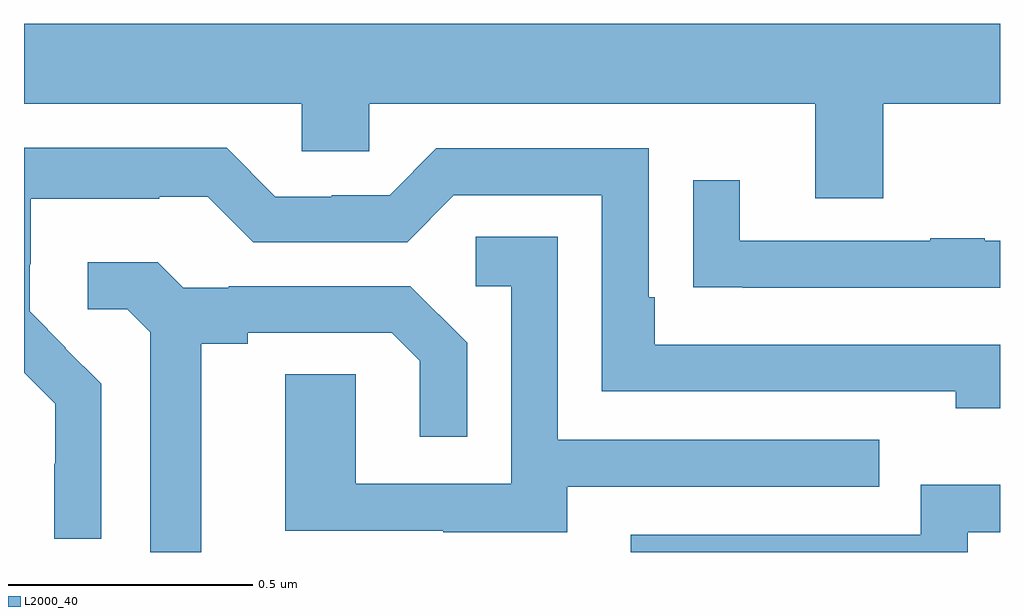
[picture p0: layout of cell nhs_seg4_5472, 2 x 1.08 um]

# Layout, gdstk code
import gdstk
lib = gdstk.Library(unit=1e-6, precision=1e-09)
def P(c, l, *ps):  # polygons
    for p in ps: c.add(gdstk.Polygon(p, *l))
L2000_40 = (2000, 40)

nhs_seg4_5472 = lib.new_cell('nhs_seg4_5472')
P(nhs_seg4_5472, L2000_40, [(179.761,796.82),(180,796.82),(180,796.984),(178,796.984),(178,796.82),(178.569,796.82),(178.569,796.722),(178.707,796.722),(178.707,796.82),(179.621,796.82),(179.621,796.626),(179.761,796.626)],
  [(178.158,796.246),(178.085,796.319),(178.086,796.32),(178.012,796.394),(178.012,796.491),(178.014,796.491),(178.014,796.625),(178.277,796.625),(178.277,796.629),(178.377,796.629),(178.47,796.536),(178.785,796.536),(178.881,796.632),(179.184,796.632),(179.184,796.23),(179.909,796.23),(179.909,796.196),(180,796.196),(180,796.326),(179.293,796.326),(179.293,796.423),(179.28,796.423),(179.28,796.728),(178.845,796.728),(178.749,796.632),(178.631,796.632),(178.631,796.629),(178.515,796.629),(178.415,796.729),(178,796.729),(178,796.268),(178.064,796.205),(178.064,796.082),(178.062,796.082),(178.062,795.928),(178.158,795.928)],
  [(180,796.539),(179.969,796.539),(179.969,796.544),(179.857,796.544),(179.857,796.539),(179.467,796.539),(179.467,796.663),(179.371,796.663),(179.371,796.444),(179.473,796.444),(179.473,796.443),(180,796.443)],
  [(179.113,796.035),(179.753,796.035),(179.753,796.131),(179.094,796.131),(179.094,796.547),(178.926,796.547),(178.926,796.446),(178.998,796.446),(178.998,796.041),(178.68,796.041),(178.68,796.265),(178.535,796.265),(178.535,795.945),(178.859,795.945),(178.859,795.941),(179.113,795.941)],
  [(178.363,796.328),(178.459,796.328),(178.459,796.35),(178.754,796.35),(178.811,796.293),(178.811,796.137),(178.908,796.137),(178.908,796.33),(178.792,796.446),(178.42,796.446),(178.42,796.443),(178.326,796.443),(178.274,796.495),(178.131,796.495),(178.131,796.398),(178.212,796.398),(178.259,796.351),(178.259,795.9),(178.363,795.9)],
  [(179.934,795.942),(180,795.942),(180,796.039),(179.838,796.039),(179.838,795.936),(179.243,795.936),(179.243,795.9),(179.934,795.9)])

lib.write_gds('nhs_seg4_5472.gds')
